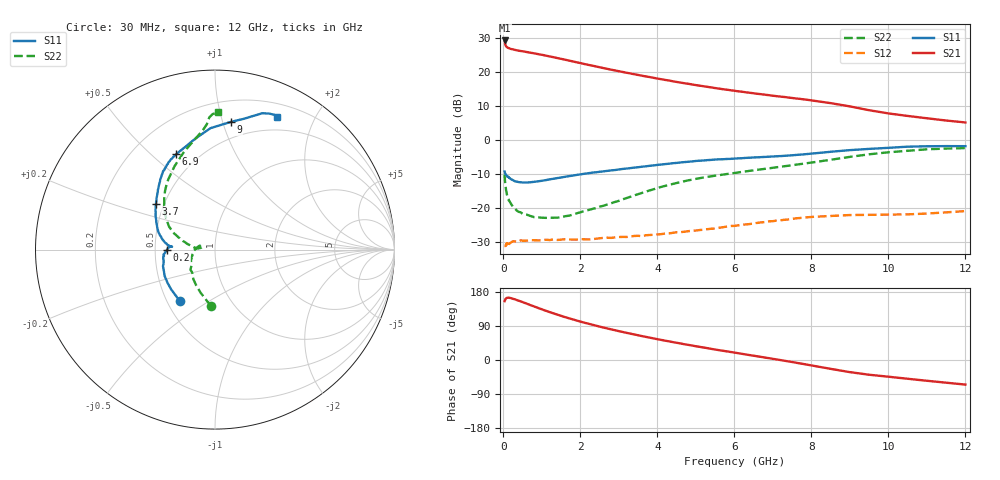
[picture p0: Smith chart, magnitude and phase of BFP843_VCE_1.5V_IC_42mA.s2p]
! Infineon Technologies  Discrete & RF Semiconductors
! BFP843
! VCE =  1.5 V,  IC =  42 mA
! Common Emitter S-Parameters:  Aug 2013
# GHz  S  MA  R  50
!  f  S11  S21  S12  S22
! GHz  MAG  ANG  MAG  ANG  MAG  ANG  MAG  ANG
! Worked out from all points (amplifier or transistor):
!   103 points, 30 MHz to 12 GHz, reference 50 ohm
!   highest |S21| = 29.3 dB at 30 MHz (marker M1)
!   |S21| within 3 dB of that: start of sweep to 393.5 MHz
!   unconditionally stable (mu >= 1): 82.35 MHz to 10.29 GHz
!   at 400 MHz: K = 1.05, MAG = 26.6 dB, |S12| = -29.7 dB
!   at 3.7 GHz: K = 1.37, MAG = 19.7 dB, |S12| = -27.9 dB
!   at 12 GHz: K = 0.84, MSG = 13.0 dB, |S12| = -20.8 dB
!   S11 on the Smith chart (normalised r, x): 30 MHz: 0.58, -0.38; 200 MHz: 0.58, -0.00; 3.7 GHz: 0.45, +0.28; 6.9 GHz: 0.38, +0.60; 9 GHz: 0.36, +1.06; 12 GHz: 0.34, +1.52
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0.03  0.3483 -124.0  29.14 155.1  0.0279 25.0  0.3153 -94.1
0.04  0.3296 -138.0  26.61 157.3  0.0279 22.7  0.2531 -108.5
0.05  0.3224 -145.4  25.33 160.5  0.0286 18.2  0.224 -118.2
0.07  0.3074 -158.4  23.77 162.8  0.0292 11.5  0.1799 -135.1
0.08  0.3039 -162.5  23.51 163.5  0.0307 10.2  0.1766 -140.8
0.13  0.2864 -172.9  22.62 164.6  0.0318 9.6  0.1375 -162.6
0.2  0.2675 -179.8  21.81 163.2  0.0318 8.3  0.1158 -177.6
0.7  0.2419 176.1  19.28 144.9  0.0341 5.4  0.0774 162.1
1.1  0.26 174.6  17.48 130.0  0.0347 7.1  0.0726 164.5
1.6  0.2909 170.2  15.21 113.2  0.0353 8.2  0.0767 171.6
2.1  0.3223 164.3  13.15 98.5  0.0352 9.3  0.0911 175.5
2.8  0.3615 154.9  10.84 80.8  0.0369 13.0  0.119 173.8
3.2  0.3845 149.4  9.778 71.6  0.0381 14.4  0.1419 170.1
3.7  0.4147 142.4  8.649 61.0  0.0404 15.9  0.1761 165.7
4.1  0.4402 137.2  7.86 53.0  0.0419 17.2  0.2067 162.1
5  0.4967 127.9  6.445 36.3  0.0473 18.1  0.2712 155.1
6.1  0.5425 119.6  5.226 17.8  0.0564 17.2  0.337 145.1
6.9  0.5734 112.2  4.582 4.8  0.0646 14.0  0.3873 136.9
8.5  0.6772 92.1  3.505 -23.4  0.0774 1.5  0.517 115.8
9  0.7165 83.0  3.14 -32.0  0.0799 -2.8  0.5704 107.7
10.5  0.8048 70.8  2.274 -49.5  0.0817 -10.8  0.7004 93.7
12  0.8188 64.9  1.825 -64.9  0.0913 -17.8  0.7672 88.6
